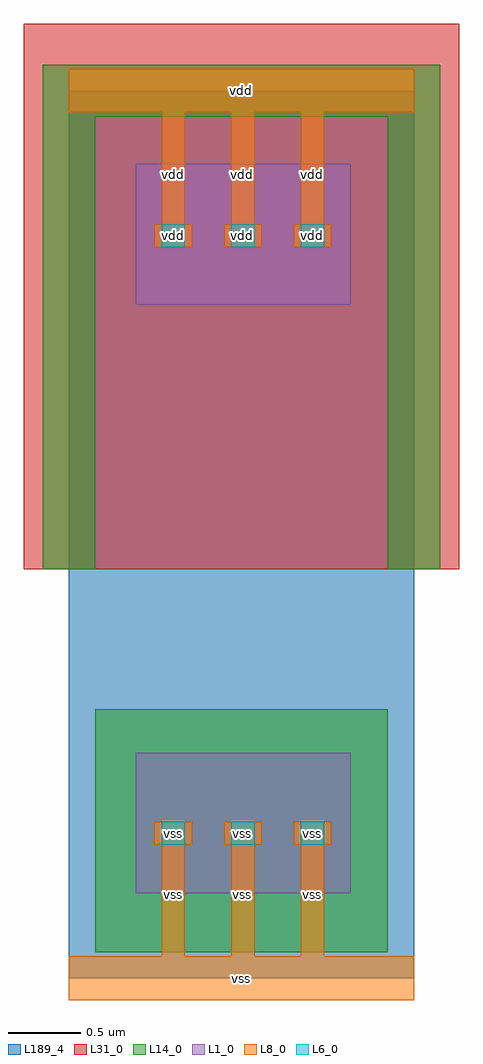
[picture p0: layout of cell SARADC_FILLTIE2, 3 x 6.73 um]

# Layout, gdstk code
import gdstk
lib = gdstk.Library(unit=1e-6, precision=1e-09)
def R(c, l, rs):  # rectangles x0, y0, x1, y1
    for r in rs: c.add(gdstk.rectangle(r[:2], r[2:], *l))
def A(c, l, x, y, w, h, nx, ny, dx, dy):  # array of equal rectangles
    R(c, l, [(x+i*dx, y+j*dy, x+i*dx+w, y+j*dy+h) for i in range(nx) for j in range(ny)])
L1_0 = (1, 0)
L6_0 = (6, 0)
L8_0 = (8, 0)
L14_0 = (14, 0)
L31_0 = (31, 0)
L63_0 = (63, 0)
L189_4 = (189, 4)

saradc_filltie2 = lib.new_cell('SARADC_FILLTIE2')
R(saradc_filltie2, L1_0, [(0.46,0.585,1.945,1.555), (0.46,4.645,1.945,5.615)])
A(saradc_filltie2, L6_0, 0.64, 0.92, 0.16, 0.16, 3, 2, 0.48, 4.12)
A(saradc_filltie2, L8_0, 0.64, 0.07, 0.16, 1.01, 3, 2, 0.48, 4.97)
A(saradc_filltie2, L8_0, 0.59, 0.92, 0.26, 0.16, 3, 2, 0.48, 4.12)
R(saradc_filltie2, L8_0, [(0,-0.15,2.38,0.15), (0,5.97,2.38,6.27)])
R(saradc_filltie2, L14_0, [(0.18,0.18,2.2,1.855), (-0.18,2.82,0.18,5.94), (2.2,2.82,2.56,5.94), (-0.18,5.94,2.56,6.3)])
R(saradc_filltie2, L31_0, [(-0.31,2.82,2.69,6.58)])
R(saradc_filltie2, L189_4, [(0,0,2.38,6.12)])
saradc_filltie2.add(gdstk.FlexPath([(0.59,0.41),(1.81,0.41)], 0, ends="flush", simple_path=True, layer=63, datatype=0))  # L63_0
saradc_filltie2.add(gdstk.FlexPath([(0.59,1),(1.81,1)], 0, ends="flush", simple_path=True, layer=63, datatype=0))  # L63_0
saradc_filltie2.add(gdstk.FlexPath([(0.59,1.56),(1.81,1.56)], 0, ends="flush", simple_path=True, layer=63, datatype=0))  # L63_0
saradc_filltie2.add(gdstk.FlexPath([(0.59,2.15),(1.81,2.15)], 0, ends="flush", simple_path=True, layer=63, datatype=0))  # L63_0
saradc_filltie2.add(gdstk.FlexPath([(0.59,2.63),(1.81,2.63)], 0, ends="flush", simple_path=True, layer=63, datatype=0))  # L63_0
saradc_filltie2.add(gdstk.FlexPath([(0.59,3.11),(1.81,3.11)], 0, ends="flush", simple_path=True, layer=63, datatype=0))  # L63_0
saradc_filltie2.add(gdstk.FlexPath([(0.59,4.08),(1.81,4.08)], 0, ends="flush", simple_path=True, layer=63, datatype=0))  # L63_0
saradc_filltie2.add(gdstk.FlexPath([(0.59,4.44),(1.81,4.44)], 0, ends="flush", simple_path=True, layer=63, datatype=0))  # L63_0
saradc_filltie2.add(gdstk.FlexPath([(0.59,4.78),(1.81,4.78)], 0, ends="flush", simple_path=True, layer=63, datatype=0))  # L63_0
saradc_filltie2.add(gdstk.FlexPath([(0.59,5.12),(1.81,5.12)], 0, ends="flush", simple_path=True, layer=63, datatype=0))  # L63_0
saradc_filltie2.add(gdstk.FlexPath([(0.59,5.71),(1.81,5.71)], 0, ends="flush", simple_path=True, layer=63, datatype=0))  # L63_0
saradc_filltie2.add(gdstk.FlexPath([(0.72,0.07),(0.72,6.05)], 0, ends="flush", simple_path=True, layer=63, datatype=0))  # L63_0
saradc_filltie2.add(gdstk.FlexPath([(1.2,0.07),(1.2,6.05)], 0, ends="flush", simple_path=True, layer=63, datatype=0))  # L63_0
saradc_filltie2.add(gdstk.FlexPath([(1.68,0.07),(1.68,6.05)], 0, ends="flush", simple_path=True, layer=63, datatype=0))  # L63_0
saradc_filltie2.add(gdstk.Label('vss', (0.72,1), layer=6, texttype=0))
saradc_filltie2.add(gdstk.Label('vss', (1.2,1), layer=6, texttype=0))
saradc_filltie2.add(gdstk.Label('vss', (1.68,1), layer=6, texttype=0))
saradc_filltie2.add(gdstk.Label('vdd', (0.72,5.12), layer=6, texttype=0))
saradc_filltie2.add(gdstk.Label('vdd', (1.2,5.12), layer=6, texttype=0))
saradc_filltie2.add(gdstk.Label('vdd', (1.68,5.12), layer=6, texttype=0))
saradc_filltie2.add(gdstk.Label('vss', (0.72,1), layer=8, texttype=0))
saradc_filltie2.add(gdstk.Label('vss', (0.72,0.575), layer=8, texttype=0))
saradc_filltie2.add(gdstk.Label('vss', (1.2,1), layer=8, texttype=0))
saradc_filltie2.add(gdstk.Label('vss', (1.2,0.575), layer=8, texttype=0))
saradc_filltie2.add(gdstk.Label('vss', (1.68,1), layer=8, texttype=0))
saradc_filltie2.add(gdstk.Label('vss', (1.68,0.575), layer=8, texttype=0))
saradc_filltie2.add(gdstk.Label('vdd', (0.72,5.12), layer=8, texttype=0))
saradc_filltie2.add(gdstk.Label('vdd', (0.72,5.545), layer=8, texttype=0))
saradc_filltie2.add(gdstk.Label('vdd', (1.2,5.12), layer=8, texttype=0))
saradc_filltie2.add(gdstk.Label('vdd', (1.2,5.545), layer=8, texttype=0))
saradc_filltie2.add(gdstk.Label('vdd', (1.68,5.12), layer=8, texttype=0))
saradc_filltie2.add(gdstk.Label('vdd', (1.68,5.545), layer=8, texttype=0))
saradc_filltie2.add(gdstk.Label('vss', (1.19,0), layer=8, texttype=2))
saradc_filltie2.add(gdstk.Label('vdd', (1.19,6.12), layer=8, texttype=2))

lib.write_gds('SARADC_FILLTIE2.gds')
